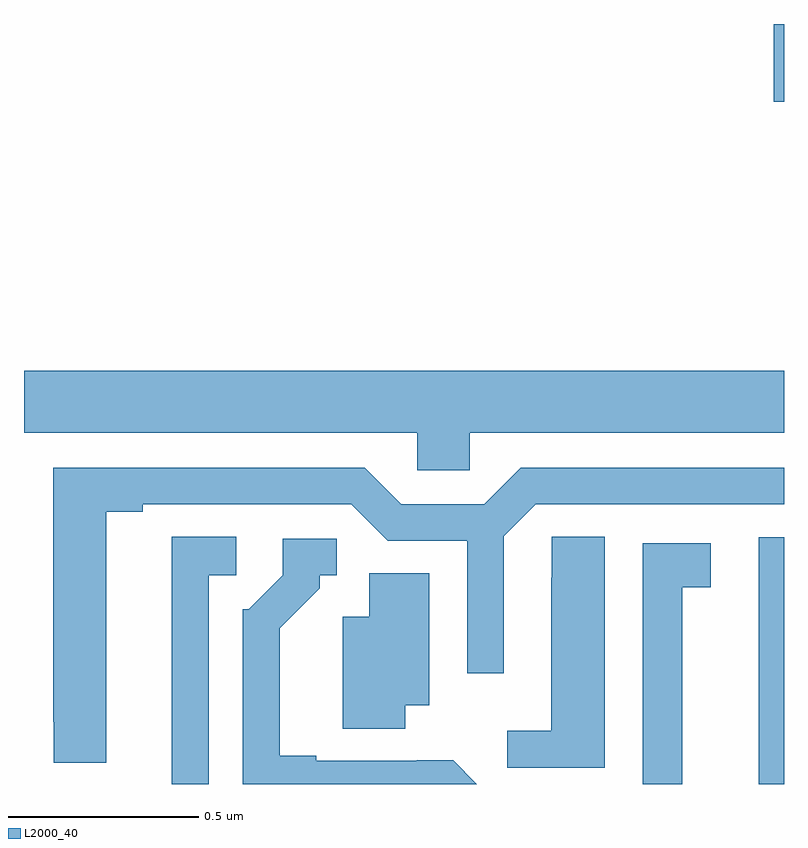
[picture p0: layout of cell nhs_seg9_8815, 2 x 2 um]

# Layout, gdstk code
import gdstk
lib = gdstk.Library(unit=1e-6, precision=1e-09)
def R(c, l, rs):  # rectangles x0, y0, x1, y1
    for r in rs: c.add(gdstk.rectangle(r[:2], r[2:], *l))
def P(c, l, *ps):  # polygons
    for p in ps: c.add(gdstk.Polygon(p, *l))
L2000_40 = (2000, 40)

nhs_seg9_8815 = lib.new_cell('nhs_seg9_8815')
R(nhs_seg9_8815, L2000_40, [(223.934,1191.5,224,1192.15), (223.973,1193.295,224,1193.5)])
P(nhs_seg9_8815, L2000_40, [(223.173,1192.424),(224,1192.424),(224,1192.588),(222,1192.588),(222,1192.424),(223.035,1192.424),(223.035,1192.326),(223.173,1192.326)],
  [(222.217,1192.216),(222.313,1192.216),(222.313,1192.236),(222.861,1192.236),(222.957,1192.14),(223.167,1192.14),(223.167,1191.792),(223.263,1191.792),(223.263,1192.152),(223.347,1192.236),(224,1192.236),(224,1192.332),(223.307,1192.332),(223.211,1192.236),(222.993,1192.236),(222.897,1192.332),(222.077,1192.332),(222.077,1191.664),(222.078,1191.664),(222.078,1191.556),(222.217,1191.556)],
  [(223.528,1192.151),(223.389,1192.151),(223.389,1192.043),(223.388,1192.043),(223.388,1191.64),(223.272,1191.64),(223.272,1191.543),(223.528,1191.543)],
  [(222.486,1192.05),(222.559,1192.05),(222.559,1192.151),(222.389,1192.151),(222.389,1191.5),(222.486,1191.5)],
  [(223.13,1191.562),(223.034,1191.562),(223.034,1191.561),(222.769,1191.561),(222.769,1191.574),(222.673,1191.574),(222.673,1191.91),(222.778,1192.015),(222.778,1192.05),(222.823,1192.05),(222.823,1192.146),(222.681,1192.146),(222.681,1192.05),(222.591,1191.96),(222.576,1191.96),(222.576,1191.5),(223.192,1191.5)],
  [(223.732,1192.018),(223.807,1192.018),(223.807,1192.134),(223.628,1192.134),(223.628,1191.5),(223.732,1191.5)],
  [(223.003,1191.707),(223.066,1191.707),(223.066,1192.055),(222.908,1192.055),(222.908,1191.94),(222.839,1191.94),(222.839,1191.646),(223.003,1191.646)])

lib.write_gds('nhs_seg9_8815.gds')
